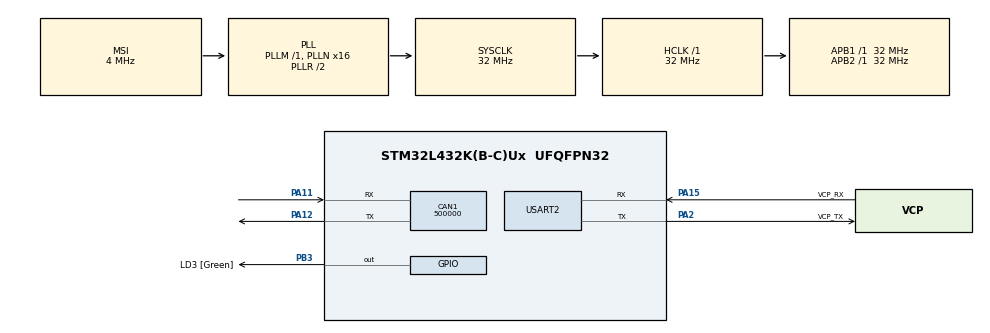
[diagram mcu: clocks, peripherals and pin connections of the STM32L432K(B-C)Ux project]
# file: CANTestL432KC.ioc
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CAN1.BS1=CAN_BS1_2TQ
CAN1.CalculateBaudRate=500000
CAN1.CalculateTimeBit=2000
CAN1.CalculateTimeQuantum=500.0
CAN1.Mode=CAN_MODE_NORMAL
Mcu.Family=STM32L4
Mcu.Name=STM32L432K(B-C)Ux
Mcu.Package=UFQFPN32
NVIC.CAN1_RX0_IRQn=true\:0\:0\:false\:false\:true\:true\:true\:true
NVIC.CAN1_RX1_IRQn=true\:0\:0\:false\:false\:true\:true\:true\:true
NVIC.PriorityGroup=NVIC_PRIORITYGROUP_4
PA0.GPIO_Label=MCO [High speed clock in]
PA0.Mode=HSE-External-Clock-Source-for-LittleOrca
PA0.Signal=RCC_CK_IN
PA11.Mode=CAN_Activate
PA11.Signal=CAN1_RX
PA12.Mode=CAN_Activate
PA12.Signal=CAN1_TX
PA13\ (JTMS-SWDIO).GPIO_Label=SWDIO
PA13\ (JTMS-SWDIO).Mode=Serial_Wire
PA13\ (JTMS-SWDIO).Signal=SYS_JTMS-SWDIO
PA14\ (JTCK-SWCLK).GPIO_Label=SWCLK
PA14\ (JTCK-SWCLK).Mode=Serial_Wire
PA14\ (JTCK-SWCLK).Signal=SYS_JTCK-SWCLK
PA15\ (JTDI).GPIO_Label=VCP_RX
PA15\ (JTDI).Mode=Asynchronous
PA15\ (JTDI).Signal=USART2_RX
PA2.GPIO_Label=VCP_TX
PA2.Mode=Asynchronous
PA2.Signal=USART2_TX
PB3\ (JTDO-TRACESWO).GPIO_Label=LD3 [Green]
PB3\ (JTDO-TRACESWO).Signal=GPIO_Output
PC14-OSC32_IN\ (PC14).Mode=LSE-External-Oscillator
PC14-OSC32_IN\ (PC14).Signal=RCC_OSC32_IN
PC15-OSC32_OUT\ (PC15).Mode=LSE-External-Oscillator
PC15-OSC32_OUT\ (PC15).Signal=RCC_OSC32_OUT
ProjectManager.HeapSize=0x200
ProjectManager.StackSize=0x400
ProjectManager.TargetToolchain=STM32CubeIDE
RCC.AHBFreq_Value=32000000
RCC.APB1Freq_Value=32000000
RCC.APB1TimFreq_Value=32000000
RCC.APB2Freq_Value=32000000
RCC.APB2TimFreq_Value=32000000
RCC.CortexFreq_Value=32000000
RCC.HCLKFreq_Value=32000000
RCC.HSE_VALUE=8000000
RCC.HSI16_VALUE=16000000
RCC.HSI48_VALUE=48000000
RCC.HSI_VALUE=16000000
RCC.MSI_VALUE=4000000
RCC.PLLMUL=RCC_PLLMUL_4
RCC.PLLN=16
RCC.SYSCLKFreq_VALUE=32000000
RCC.SYSCLKSource=RCC_SYSCLKSOURCE_PLLCLK
RCC.VCOOutputFreq_Value=64000000
USART2.VirtualMode-Asynchronous=VM_ASYNC
board=NUCLEO-L432KC

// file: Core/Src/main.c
/* USER CODE BEGIN Header */
/**
  ******************************************************************************
  * @file           : main.c
  * @brief          : Main program body
  ******************************************************************************
  * @attention
  *
  * Copyright (c) 2025 STMicroelectronics.
  * All rights reserved.
  *
  * This software is licensed under terms that can be found in the LICENSE file
  * in the root directory of this software component.
  * If no LICENSE file comes with this software, it is provided AS-IS.
  *
  ******************************************************************************
  */
/* USER CODE END Header */
#include "main.h"

/* USER CODE BEGIN PM */
static inline void split_uint16(uint16_t v, uint8_t *hi, uint8_t *lo) {
    *hi = (uint8_t)(v >> 8);
    *lo = (uint8_t)(v & 0xFF);
}

static inline uint16_t combine_uint8(uint8_t hi, uint8_t lo) {
    return ((uint16_t)hi << 8) | (uint16_t)lo;
}
/* USER CODE END PM */

CAN_HandleTypeDef hcan1;

UART_HandleTypeDef huart2;

/* USER CODE BEGIN PV */

//identifier ID for each board (every board should have the exact same values)
//must be between 0-255
static uint32_t MAIN = 100;
static uint32_t TEST = 101;
static uint32_t UI = 102;
/* USER CODE END PV */

void SystemClock_Config(void);
static void MX_GPIO_Init(void);
static void MX_USART2_UART_Init(void);
static void MX_CAN1_Init(void);

/* USER CODE BEGIN 0 */
CAN_TxHeaderTypeDef TxHeader;
CAN_RxHeaderTypeDef RxHeader;

uint8_t TxData[8];
uint8_t RxData[8];

//data is formatted as followed (three 16-bit values)
/*
 *  [0] data 1 MSB
 *  [1] data 1 LSB
 *  [2] data 2 MSB
 *  [3] data 2 LSB
 *  [4] data 3 MSB
 *  [5] data 3 LSB
 *  [6]
 *  [7] Identifier (such as 0x100 for MAIN)
 *
 *  not every packet will have all data filled, but identifier should always be allocated
 *  16 bit data has big-endian formatting
 */

uint32_t TxMailbox;

uint16_t sensorVal = 10306;
uint16_t recovered = 0;

void HAL_CAN_RxFifo0MsgPendingCallback(CAN_HandleTypeDef *hcan)
{
	HAL_CAN_GetRxMessage(hcan, CAN_RX_FIFO0, &RxHeader, RxData);

	recovered = combine_uint8(RxData[0], RxData[1]);

	HAL_GPIO_TogglePin(LD3_GPIO_Port, LD3_Pin);

	TxData[7] = TEST; //set identifier
    split_uint16(recovered, &TxData[0], &TxData[1]);
    HAL_CAN_AddTxMessage(&hcan1, &TxHeader, TxData, &TxMailbox);
}

//16-bit split into 2 8-bit

/* USER CODE END 0 */

int main(void)
{

  /* MCU Configuration--------------------------------------------------------*/

  /* Reset of all peripherals, Initializes the Flash interface and the Systick. */
  HAL_Init();

  /* Configure the system clock */
  SystemClock_Config();

  /* Initialize all configured peripherals */
  MX_GPIO_Init();
  MX_USART2_UART_Init();
  MX_CAN1_Init();
  /* USER CODE BEGIN 2 */
  HAL_CAN_Start(&hcan1);

    // Activate the notification
    HAL_CAN_ActivateNotification(&hcan1, CAN_IT_RX_FIFO0_MSG_PENDING);

    //header to send data back to main board
    TxHeader.DLC = 8;  // data length
    TxHeader.ExtId = 0;
    TxHeader.IDE = CAN_ID_STD;
    TxHeader.RTR = CAN_RTR_DATA;
    TxHeader.StdId = MAIN;  // ID of main board
    TxHeader.TransmitGlobalTime = DISABLE;

  /* USER CODE END 2 */

  /* Infinite loop */
  while (1)
  {

  }
}

void SystemClock_Config(void)
{
  RCC_OscInitTypeDef RCC_OscInitStruct = {0};
  RCC_ClkInitTypeDef RCC_ClkInitStruct = {0};

  /** Configure the main internal regulator output voltage
  */
  if (HAL_PWREx_ControlVoltageScaling(PWR_REGULATOR_VOLTAGE_SCALE1) != HAL_OK)
  {
    Error_Handler();
  }

  /** Configure LSE Drive Capability
  */
  HAL_PWR_EnableBkUpAccess();
  __HAL_RCC_LSEDRIVE_CONFIG(RCC_LSEDRIVE_LOW);

  /** Initializes the RCC Oscillators according to the specified parameters
  * in the RCC_OscInitTypeDef structure.
  */
  RCC_OscInitStruct.OscillatorType = RCC_OSCILLATORTYPE_LSE|RCC_OSCILLATORTYPE_MSI;
  RCC_OscInitStruct.LSEState = RCC_LSE_ON;
  RCC_OscInitStruct.MSIState = RCC_MSI_ON;
  RCC_OscInitStruct.MSICalibrationValue = 0;
  RCC_OscInitStruct.MSIClockRange = RCC_MSIRANGE_6;
  RCC_OscInitStruct.PLL.PLLState = RCC_PLL_ON;
  RCC_OscInitStruct.PLL.PLLSource = RCC_PLLSOURCE_MSI;
  RCC_OscInitStruct.PLL.PLLM = 1;
  RCC_OscInitStruct.PLL.PLLN = 16;
  RCC_OscInitStruct.PLL.PLLP = RCC_PLLP_DIV7;
  RCC_OscInitStruct.PLL.PLLQ = RCC_PLLQ_DIV2;
  RCC_OscInitStruct.PLL.PLLR = RCC_PLLR_DIV2;
  if (HAL_RCC_OscConfig(&RCC_OscInitStruct) != HAL_OK)
  {
    Error_Handler();
  }

  /** Initializes the CPU, AHB and APB buses clocks
  */
  RCC_ClkInitStruct.ClockType = RCC_CLOCKTYPE_HCLK|RCC_CLOCKTYPE_SYSCLK
                              |RCC_CLOCKTYPE_PCLK1|RCC_CLOCKTYPE_PCLK2;
  RCC_ClkInitStruct.SYSCLKSource = RCC_SYSCLKSOURCE_PLLCLK;
  RCC_ClkInitStruct.AHBCLKDivider = RCC_SYSCLK_DIV1;
  RCC_ClkInitStruct.APB1CLKDivider = RCC_HCLK_DIV1;
  RCC_ClkInitStruct.APB2CLKDivider = RCC_HCLK_DIV1;

  if (HAL_RCC_ClockConfig(&RCC_ClkInitStruct, FLASH_LATENCY_1) != HAL_OK)
  {
    Error_Handler();
  }

  /** Enable MSI Auto calibration
  */
  HAL_RCCEx_EnableMSIPLLMode();
}

static void MX_CAN1_Init(void)
{

  hcan1.Instance = CAN1;
  hcan1.Init.Prescaler = 16;
  hcan1.Init.Mode = CAN_MODE_NORMAL;
  hcan1.Init.SyncJumpWidth = CAN_SJW_1TQ;
  hcan1.Init.TimeSeg1 = CAN_BS1_2TQ;
  hcan1.Init.TimeSeg2 = CAN_BS2_1TQ;
  hcan1.Init.TimeTriggeredMode = DISABLE;
  hcan1.Init.AutoBusOff = DISABLE;
  hcan1.Init.AutoWakeUp = DISABLE;
  hcan1.Init.AutoRetransmission = DISABLE;
  hcan1.Init.ReceiveFifoLocked = DISABLE;
  hcan1.Init.TransmitFifoPriority = DISABLE;
  if (HAL_CAN_Init(&hcan1) != HAL_OK)
  {
    Error_Handler();
  }
  /* USER CODE BEGIN CAN1_Init 2 */
  CAN_FilterTypeDef canfilterconfig;

  //filter id is id of this board so that it receives the correct data
     canfilterconfig.FilterActivation = CAN_FILTER_ENABLE;
     canfilterconfig.FilterBank = 10;  // which filter bank to use from the assigned ones
     canfilterconfig.FilterFIFOAssignment = CAN_RX_FIFO0;
     canfilterconfig.FilterIdHigh = TEST<<5;
     canfilterconfig.FilterIdLow = 0x0000;
     canfilterconfig.FilterMaskIdHigh = TEST<<5;
     canfilterconfig.FilterMaskIdLow = 0x0000;
     canfilterconfig.FilterMode = CAN_FILTERMODE_IDMASK;
     canfilterconfig.FilterScale = CAN_FILTERSCALE_32BIT;
     canfilterconfig.SlaveStartFilterBank = 13;  // 13 - 27 are Slave (CAN2) or 0 - 12 are Master (CAN1)
     	 	 	 	 	 	 	 	 	 	 	// useless if only 1 CAN1 (which this board has)

     HAL_CAN_ConfigFilter(&hcan1, &canfilterconfig);
  /* USER CODE END CAN1_Init 2 */

}

static void MX_USART2_UART_Init(void)
{

  huart2.Instance = USART2;
  huart2.Init.BaudRate = 115200;
  huart2.Init.WordLength = UART_WORDLENGTH_8B;
  huart2.Init.StopBits = UART_STOPBITS_1;
  huart2.Init.Parity = UART_PARITY_NONE;
  huart2.Init.Mode = UART_MODE_TX_RX;
  huart2.Init.HwFlowCtl = UART_HWCONTROL_NONE;
  huart2.Init.OverSampling = UART_OVERSAMPLING_16;
  huart2.Init.OneBitSampling = UART_ONE_BIT_SAMPLE_DISABLE;
  huart2.AdvancedInit.AdvFeatureInit = UART_ADVFEATURE_NO_INIT;
  if (HAL_UART_Init(&huart2) != HAL_OK)
  {
    Error_Handler();
  }

}

static void MX_GPIO_Init(void)
{
  GPIO_InitTypeDef GPIO_InitStruct = {0};

  /* GPIO Ports Clock Enable */
  __HAL_RCC_GPIOC_CLK_ENABLE();
  __HAL_RCC_GPIOA_CLK_ENABLE();
  __HAL_RCC_GPIOB_CLK_ENABLE();

  /*Configure GPIO pin Output Level */
  HAL_GPIO_WritePin(LD3_GPIO_Port, LD3_Pin, GPIO_PIN_RESET);

  /*Configure GPIO pin : LD3_Pin */
  GPIO_InitStruct.Pin = LD3_Pin;
  GPIO_InitStruct.Mode = GPIO_MODE_OUTPUT_PP;
  GPIO_InitStruct.Pull = GPIO_NOPULL;
  GPIO_InitStruct.Speed = GPIO_SPEED_FREQ_LOW;
  HAL_GPIO_Init(LD3_GPIO_Port, &GPIO_InitStruct);

}

void Error_Handler(void)
{
  __disable_irq();
  while (1)
  {
  }
}
